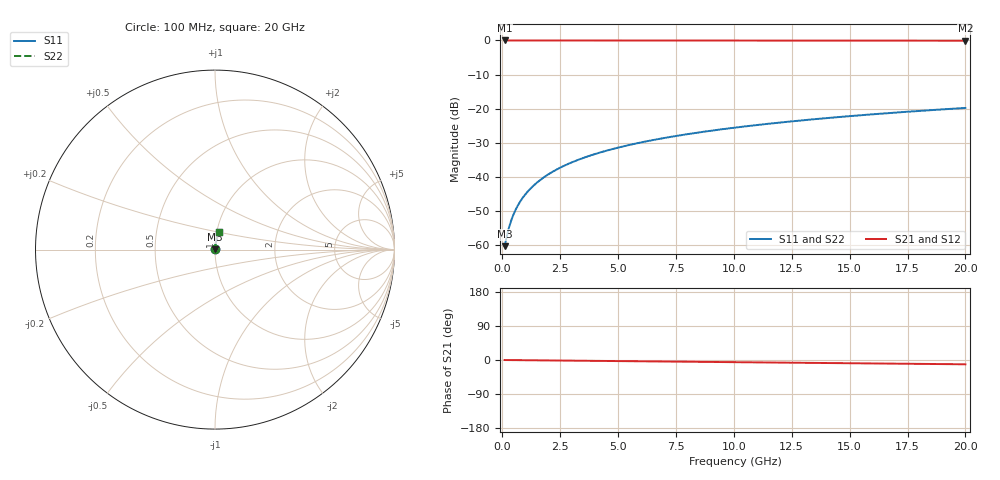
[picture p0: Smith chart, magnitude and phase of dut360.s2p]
! Touchstone file exported from HFSS 2026.1.0
!  File:  C:/ffzhzh/LocalFiles/Ansys_Project_Files/temp_train_TSV_360_1783019296_53980.aedt
!  Generated:  03:10:37 AM Jul  3, 2026
!  Design:  TSV
!  Project:  temp_train_TSV_360_1783019296_53980
! Variables:
!  h_bsmrdl = 2um
!  h_ox = 20um
!  h_rdl = 5um
!  h_sub = 98.99um
!  h_tmrdl = 5um
!  h_tsv = 98.99um
!  h_via = 3um
!  l_bsmrdl = 300um
!  l_sub = 407.76um
!  l_tmrdl = 200um
!  m_sub = 200um
!  pitch = 39.74um
!  r_tsv = 3.88um
!  s_tmrdl = 10um
!  w_bsmrdl = 18um
!  w_sub = 500um
!  w_tmrdl = 12um
!  x_tsv_center1 = 206um
!  x_tsv_center2 = 524um
!  x_tsv_center3 = 736um
!  x_tsv_center4 = 1054um
!  x_tsv_center5 = 1266um
!  x_tsv_center6 = 1584um
# GHz S MA R 50.000000
! Terminal data exported
! Port[1] = TSV1_1_T1
! Port[2] = TSV1_1_T2
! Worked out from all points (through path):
!   200 points, 100 MHz to 20 GHz, reference 50 ohm
!   highest |S21| = -0.01 dB at 100 MHz (marker M1); lowest = -0.1 dB at 20 GHz (marker M2)
!   group delay of S21, straight-line fit = 1.57 ps
!   lowest |S11| = -60.4 dB at 100 MHz (marker M3), VSWR 1.00, Z = 50.1 + j0.056 ohm
!   |S11| at or under -10 dB: start of sweep to end of sweep
!   |S22| runs from -60.4 to -19.8 dB; largest |S21 - S12| = 2.1e-15
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0.1  0.000956 35.8  0.9992 -0.1  0.9992 -0.1  0.000956 35.8
! Gamma 0 0 0 0
! Port Impedance 50 0 50 0
0.2  0.001364 54.7  0.9992 -0.1  0.9992 -0.1  0.001364 54.7
0.3  0.001847 64.2  0.9992 -0.2  0.9992 -0.2  0.001847 64.2
0.4  0.002355 69.6  0.9992 -0.2  0.9992 -0.2  0.002355 69.6
0.5  0.002875 73.1  0.9992 -0.3  0.9992 -0.3  0.002875 73.1
0.6  0.0034 75.5  0.9992 -0.4  0.9992 -0.4  0.0034 75.5
0.8  0.00446 78.5  0.9991 -0.5  0.9991 -0.5  0.00446 78.5
1.1  0.006064 81.0  0.9991 -0.6  0.9991 -0.6  0.006064 81.0
1.5  0.008209 82.6  0.999 -0.9  0.999 -0.9  0.008209 82.6
1.8  0.009819 83.3  0.999 -1.1  0.999 -1.1  0.009819 83.3
2.1  0.01143 83.7  0.9989 -1.2  0.9989 -1.2  0.01143 83.7
2.7  0.01463 84.1  0.9988 -1.6  0.9988 -1.6  0.01463 84.1
3.5  0.01887 84.1  0.9986 -2.0  0.9986 -2.0  0.01887 84.1
4.2  0.02255 84.0  0.9984 -2.4  0.9984 -2.4  0.02255 84.0
5  0.02672 83.8  0.9981 -2.9  0.9981 -2.9  0.02672 83.8
5.9  0.03138 83.5  0.9978 -3.4  0.9978 -3.4  0.03138 83.5
6.8  0.03601 83.1  0.9975 -3.9  0.9975 -3.9  0.03601 83.1
8.3  0.04367 82.5  0.997 -4.8  0.997 -4.8  0.04367 82.5
10.1  0.0528 81.7  0.9963 -5.8  0.9963 -5.8  0.0528 81.7
13.4  0.06943 80.2  0.9949 -7.6  0.9949 -7.6  0.06943 80.2
16.7  0.08589 78.5  0.9934 -9.5  0.9934 -9.5  0.08589 78.5
20  0.1022 76.8  0.9915 -11.3  0.9915 -11.3  0.1022 76.8
